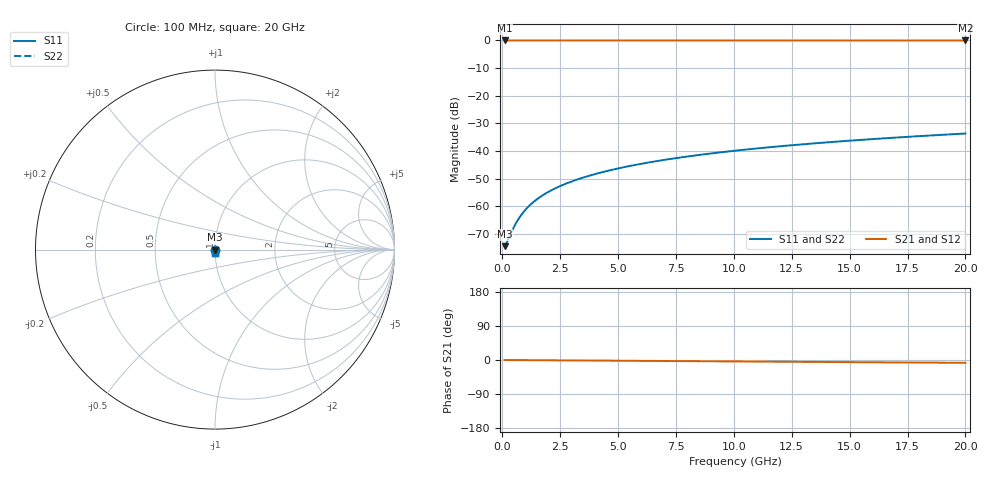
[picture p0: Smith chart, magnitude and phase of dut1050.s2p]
! Touchstone file exported from HFSS 2026.1.0
!  File:  C:/ffzhzh/LocalFiles/Ansys_Project_Files/temp_train_TSV_1050_1783189450_55132.aedt
!  Generated:  02:25:38 AM Jul  5, 2026
!  Design:  TSV
!  Project:  temp_train_TSV_1050_1783189450_55132
! Variables:
!  h_bsmrdl = 2um
!  h_ox = 20um
!  h_rdl = 5um
!  h_sub = 77.95um
!  h_tmrdl = 5um
!  h_tsv = 77.95um
!  h_via = 3um
!  l_bsmrdl = 300um
!  l_sub = 416.14um
!  l_tmrdl = 200um
!  m_sub = 200um
!  pitch = 28.04um
!  r_tsv = 8.07um
!  s_tmrdl = 10um
!  w_bsmrdl = 18um
!  w_sub = 500um
!  w_tmrdl = 12um
!  x_tsv_center1 = 206um
!  x_tsv_center2 = 524um
!  x_tsv_center3 = 736um
!  x_tsv_center4 = 1054um
!  x_tsv_center5 = 1266um
!  x_tsv_center6 = 1584um
# GHz S MA R 50.000000
! Terminal data exported
! Port[1] = TSV1_1_T1
! Port[2] = TSV1_1_T2
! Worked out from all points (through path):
!   200 points, 100 MHz to 20 GHz, reference 50 ohm
!   highest |S21| = 0.00 dB at 100 MHz (marker M1); lowest = 0.0 dB at 20 GHz (marker M2)
!   group delay of S21, straight-line fit = 1.04 ps
!   lowest |S11| = -74.5 dB at 100 MHz (marker M3), VSWR 1.00, Z = 50 - j0.00518 ohm
!   |S11| at or under -10 dB: start of sweep to end of sweep
!   |S22| runs from -74.5 to -33.7 dB; largest |S21 - S12| = 4.3e-15
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0.1  0.0001886 -15.9  0.9998 -0.0  0.9998 -0.0  0.0001886 -15.9
! Gamma 0 0 0 0
! Port Impedance 50 0 50 0
0.2  0.0002237 -28.7  0.9998 -0.1  0.9998 -0.1  0.0002237 -28.7
0.5  0.0004172 -49.3  0.9997 -0.2  0.9997 -0.2  0.0004172 -49.3
0.7  0.0005855 -56.4  0.9997 -0.3  0.9997 -0.3  0.0005855 -56.4
0.8  0.0006753 -59.1  0.9996 -0.3  0.9996 -0.3  0.0006753 -59.1
1  0.0008607 -63.4  0.9996 -0.4  0.9996 -0.4  0.0008607 -63.4
1.3  0.001146 -68.0  0.9996 -0.5  0.9996 -0.5  0.001146 -68.0
1.5  0.001338 -70.3  0.9995 -0.6  0.9995 -0.6  0.001338 -70.3
1.7  0.001531 -72.1  0.9995 -0.7  0.9995 -0.7  0.001531 -72.1
2.2  0.002016 -75.3  0.9995 -0.8  0.9995 -0.8  0.002016 -75.3
2.8  0.002604 -77.9  0.9994 -1.1  0.9994 -1.1  0.002604 -77.9
3.5  0.003298 -79.8  0.9993 -1.3  0.9993 -1.3  0.003298 -79.8
4.2  0.004002 -81.2  0.9993 -1.6  0.9993 -1.6  0.004002 -81.2
5  0.004816 -82.4  0.9992 -1.9  0.9992 -1.9  0.004816 -82.4
5.9  0.005743 -83.6  0.9991 -2.2  0.9991 -2.2  0.005743 -83.6
6.8  0.006678 -84.5  0.999 -2.6  0.999 -2.6  0.006678 -84.5
8.3  0.008247 -85.9  0.9989 -3.1  0.9989 -3.1  0.008247 -85.9
10.1  0.01014 -87.4  0.9988 -3.8  0.9988 -3.8  0.01014 -87.4
11.7  0.01183 -88.5  0.9987 -4.4  0.9987 -4.4  0.01183 -88.5
13.4  0.01363 -89.6  0.9986 -5.0  0.9986 -5.0  0.01363 -89.5
16.7  0.01713 -91.4  0.9984 -6.3  0.9984 -6.3  0.01713 -91.4
20  0.02066 -93.0  0.9982 -7.5  0.9982 -7.5  0.02066 -93.0
